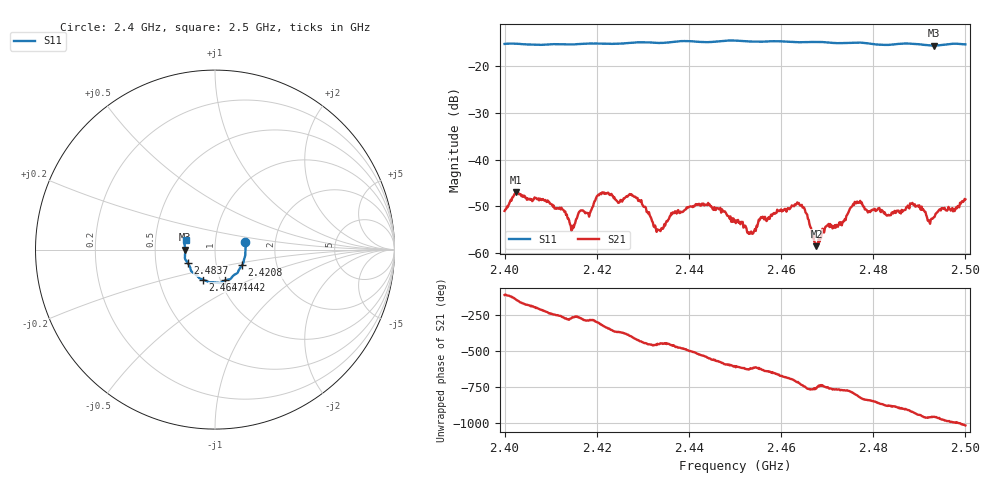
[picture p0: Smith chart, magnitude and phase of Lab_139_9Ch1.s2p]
# Hz S RI R 50
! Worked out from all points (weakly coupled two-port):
!   601 points, 2.4 GHz to 2.5 GHz, reference 50 ohm
!   highest |S21| = -47.01 dB at 2.4025 GHz (marker M1); lowest = -58.6 dB at 2.4677 GHz (marker M2)
!   lowest |S11| = -15.6 dB at 2.4932 GHz (marker M3), VSWR 1.40, Z = 35.8 - j0.0882 ohm
!   |S11| at or under -10 dB: start of sweep to end of sweep
!   S12 and S22 are empty: the file has one direction only
!   S11 on the Smith chart (normalised r, x): 2.4 GHz: 1.40, +0.12; 2.4208 GHz: 1.33, -0.24; 2.4442 GHz: 1.05, -0.37; 2.4647 GHz: 0.83, -0.29; 2.4837 GHz: 0.73, -0.11; 2.5 GHz: 0.72, +0.08
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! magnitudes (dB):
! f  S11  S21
! 2.4 GHz  -15.3  -51.0
! 2.4025 GHz  -15.2  -47.0
! 2.4123 GHz  -15.3  -50.3
! 2.4147 GHz  -15.4  -55.0
! 2.4167 GHz  -15.2  -50.9
! 2.4208 GHz  -15.2  -47.3
! 2.4283 GHz  -14.9  -47.9
! 2.4333 GHz  -15.0  -55.1
! 2.4367 GHz  -14.8  -51.4
! 2.4442 GHz  -14.9  -49.3
! 2.45 GHz  -14.5  -53.0
! 2.4535 GHz  -14.7  -55.4
! 2.4557 GHz  -14.8  -52.3
! 2.4647 GHz  -14.9  -50.3
! 2.4667 GHz  -14.8  -55.7
! 2.4677 GHz  -14.8  -58.6
! 2.4762 GHz  -15.0  -49.3
! 2.4833 GHz  -15.5  -51.9
! 2.4837 GHz  -15.4  -51.9
! 2.4885 GHz  -15.2  -49.3
! 2.4932 GHz  -15.6  -52.3
! 2.5 GHz  -15.4  -48.5
